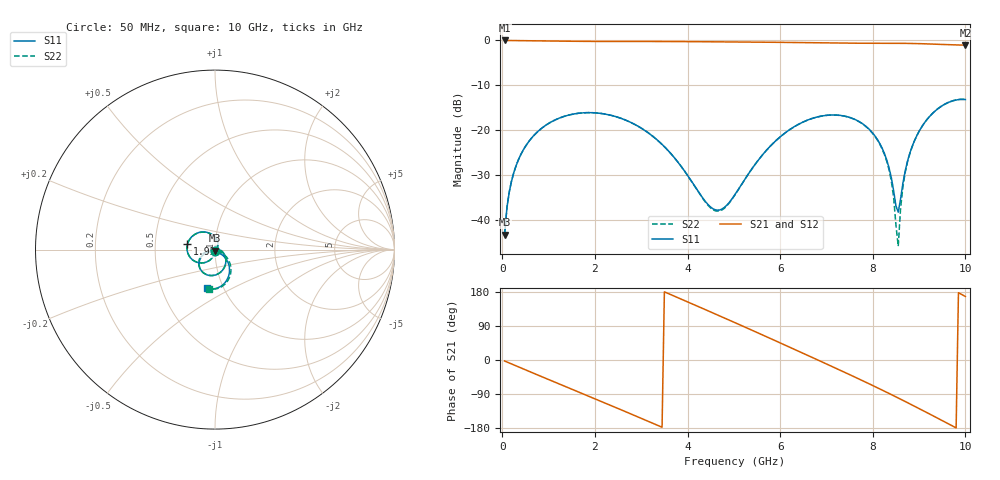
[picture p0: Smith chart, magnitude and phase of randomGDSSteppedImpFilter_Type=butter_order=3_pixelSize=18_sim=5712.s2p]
! freq	dB(S11)	phase(S11)	dB(S12)	phase(S12)
!  dB(S21)	phase(S21)	dB(S22)	phase(S22)
!S-par simulation data
#  GHz  S  DB  R 50
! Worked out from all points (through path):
!   200 points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, 50 MHz to 10 GHz, reference 50 ohm
!   highest |S21| = -0.01 dB at 50 MHz (marker M1); lowest = -1.1 dB at 10 GHz (marker M2)
!   group delay of S21, straight-line fit = 152 ps
!   lowest |S11| = -43.3 dB at 50 MHz (marker M3), VSWR 1.01, Z = 50 - j0.68 ohm
!   |S11| at or under -10 dB: start of sweep to end of sweep
!   |S22| runs from -45.9 to -13.1 dB; largest |S21 - S12| = 0
!   S11 on the Smith chart (normalised r, x): 50 MHz: 1.00, -0.01; 1.95 GHz: 0.73, +0.05; 10 GHz: 0.84, -0.38
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0.05  -43.34 -92.1  -0.01 -2.7  -0.01 -2.7  -43.34 -92.1
0.2  -31.34 -100.4  -0.02 -10.4  -0.02 -10.4  -31.34 -100.4
0.5  -23.64 -116.3  -0.05 -25.9  -0.05 -25.9  -23.64 -116.2
1.15  -17.69 -150.1  -0.14 -59.2  -0.14 -59.2  -17.69 -149.9
1.75  -16.15 179.1  -0.21 -89.7  -0.21 -89.7  -16.15 179.5
1.95  -16.13 168.9  -0.22 -99.9  -0.22 -99.9  -16.13 169.3
2.75  -18.17 127.5  -0.23 -140.9  -0.23 -140.9  -18.17 128.4
3.4  -22.71 92.6  -0.24 -174.9  -0.24 -174.9  -22.71 94.6
3.95  -29.35 60.8  -0.26 156.1  -0.26 156.1  -29.37 65.7
4.55  -37.56 21.3  -0.30 124.1  -0.30 124.1  -37.77 34.2
5.05  -33.99 0.4  -0.34 97.2  -0.34 97.2  -34.06 8.0
5.8  -23.45 -33.8  -0.40 56.2  -0.40 56.2  -23.45 -32.4
6.7  -17.37 -81.4  -0.54 6.3  -0.54 6.3  -17.38 -81.7
7.75  -18.39 -137.3  -0.62 -52.9  -0.62 -52.9  -18.43 -139.4
8.35  -28.37 -159.3  -0.62 -88.2  -0.62 -88.2  -28.82 -169.4
8.45  -33.47 -149.3  -0.63 -94.2  -0.63 -94.2  -34.98 -168.2
8.55  -38.34 -89.5  -0.63 -100.3  -0.63 -100.3  -45.90 -70.6
8.6  -35.37 -56.6  -0.64 -103.4  -0.64 -103.4  -37.55 -30.4
8.7  -29.13 -38.1  -0.65 -109.5  -0.65 -109.5  -29.49 -24.6
8.95  -21.26 -41.3  -0.70 -125.1  -0.70 -125.1  -21.29 -35.4
9.5  -14.57 -70.8  -0.90 -159.8  -0.90 -159.8  -14.55 -67.7
10  -13.20 -101.0  -1.05 167.6  -1.05 167.6  -13.18 -98.4
